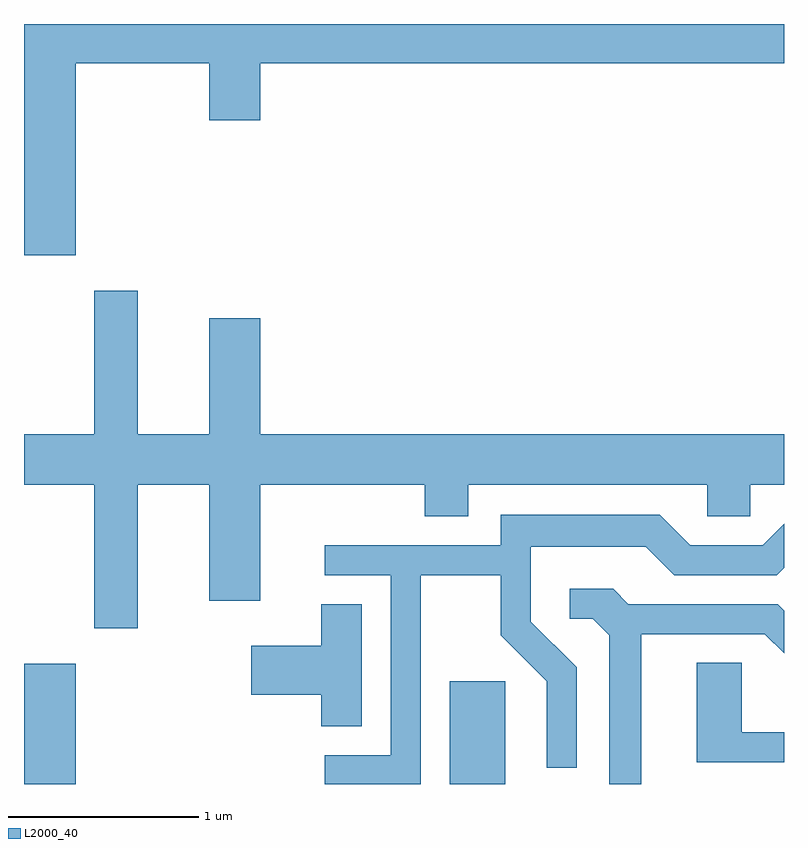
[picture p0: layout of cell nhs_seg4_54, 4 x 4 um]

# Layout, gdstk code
import gdstk
lib = gdstk.Library(unit=1e-6, precision=1e-09)
def R(c, l, rs):  # rectangles x0, y0, x1, y1
    for r in rs: c.add(gdstk.rectangle(r[:2], r[2:], *l))
def P(c, l, *ps):  # polygons
    for p in ps: c.add(gdstk.Polygon(p, *l))
L2000_40 = (2000, 40)

nhs_seg4_54 = lib.new_cell('nhs_seg4_54')
R(nhs_seg4_54, L2000_40, [(185.611,1361.982,185.884,1362.614), (187.851,1361.982,188.144,1362.524)])
P(nhs_seg4_54, L2000_40, [(185.884,1365.776),(186.586,1365.776),(186.586,1365.476),(186.854,1365.476),(186.854,1365.776),(189.611,1365.776),(189.611,1365.982),(185.611,1365.982),(185.611,1364.766),(185.884,1364.766)],
  [(186.209,1363.556),(186.586,1363.556),(186.586,1362.946),(186.854,1362.946),(186.854,1363.556),(187.721,1363.556),(187.721,1363.391),(187.949,1363.391),(187.949,1363.556),(189.206,1363.556),(189.206,1363.391),(189.434,1363.391),(189.434,1363.556),(189.611,1363.556),(189.611,1363.824),(186.854,1363.824),(186.854,1364.434),(186.586,1364.434),(186.586,1363.824),(186.209,1363.824),(186.209,1364.579),(185.981,1364.579),(185.981,1363.824),(185.611,1363.824),(185.611,1363.556),(185.981,1363.556),(185.981,1362.801),(186.209,1362.801)],
  [(187.699,1363.081),(188.121,1363.081),(188.121,1362.764),(188.361,1362.524),(188.361,1362.068),(188.519,1362.068),(188.519,1362.597),(188.279,1362.837),(188.279,1363.231),(188.884,1363.231),(189.034,1363.081),(189.572,1363.081),(189.611,1363.12),(189.611,1363.351),(189.499,1363.239),(189.117,1363.239),(188.957,1363.399),(188.121,1363.399),(188.121,1363.239),(187.193,1363.239),(187.193,1363.081),(187.541,1363.081),(187.541,1362.134),(187.193,1362.134),(187.193,1361.982),(187.699,1361.982)],
  [(188.859,1362.771),(189.509,1362.771),(189.611,1362.669),(189.611,1362.895),(189.577,1362.929),(188.792,1362.929),(188.712,1363.009),(188.483,1363.009),(188.483,1362.851),(188.604,1362.851),(188.691,1362.764),(188.691,1361.982),(188.859,1361.982)],
  [(187.389,1362.929),(187.176,1362.929),(187.176,1362.709),(186.806,1362.709),(186.806,1362.451),(187.176,1362.451),(187.176,1362.286),(187.389,1362.286)],
  [(189.611,1362.254),(189.389,1362.254),(189.389,1362.619),(189.151,1362.619),(189.151,1362.096),(189.611,1362.096)])

lib.write_gds('nhs_seg4_54.gds')
